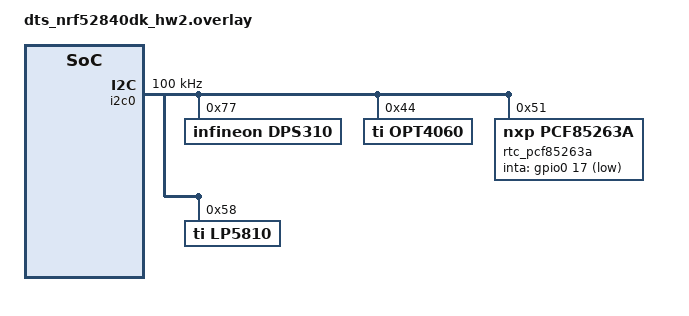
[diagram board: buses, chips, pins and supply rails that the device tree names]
/**
 * @copyright Ruuvi Innovations Ltd, license BSD-3-Clause.
 */

#include <zephyr/dt-bindings/led/led.h>

/* Path to lp5810.h must be relative to
   "ruuvi.air.c/dts" or
   "ruuvi.air.c/boards/nordic/nrf52840dk_ruuviair/dts".
*/
#include <../../../../drivers/lp5810/include/lp5810.h>

&i2c0 {
    status = "okay";
    clock-frequency = <I2C_BITRATE_STANDARD>;

    DPS310@77 {
        status = "okay";
        compatible = "infineon,dps310";
        reg = <0x77>;
    };
    OPT4060@44 {
        status = "okay";
        compatible = "ti,opt4060";
        reg = <0x44>;
    };
	rtc_pcf85263a: pcf85263a@51 {
		status = "okay";
                inta-gpios = <&gpio0 17 (GPIO_ACTIVE_LOW | GPIO_PULL_UP)>;
		compatible = "nxp,pcf85263a";
		reg = <0x51>;
	};
    LP5810@58 {
        status = "okay";
        compatible = "ti,lp5810";
        reg = <0x58>;
        // max_curr_opt; // Uncomment to set max current to 51 mA
        lod_action_cur_out_shutdown; // Shut down current sink when LED open fault happens
        lsd_action_all_out_shutdown; // Shut down all OUTs when LED short fault happens.
        lsd_threshold = <LP5810_LSD_THRESHOLD_065_VOUT>;
        led_0 {
            label = "LP5810 Red LED";
            index = <0>;
            color-mapping =
                <LED_COLOR_ID_RED>;
        };
        led_1 {
            label = "LP5810 Green LED";
            index = <1>;
            color-mapping =
                <LED_COLOR_ID_GREEN>;
        };
        led_2 {
            label = "LP5810 Blue LED";
            index = <2>;
            color-mapping =
                <LED_COLOR_ID_BLUE>;
        };
    };
};

/ {
    aliases {
        rtc-0 = &rtc_pcf85263a;
    };
};

